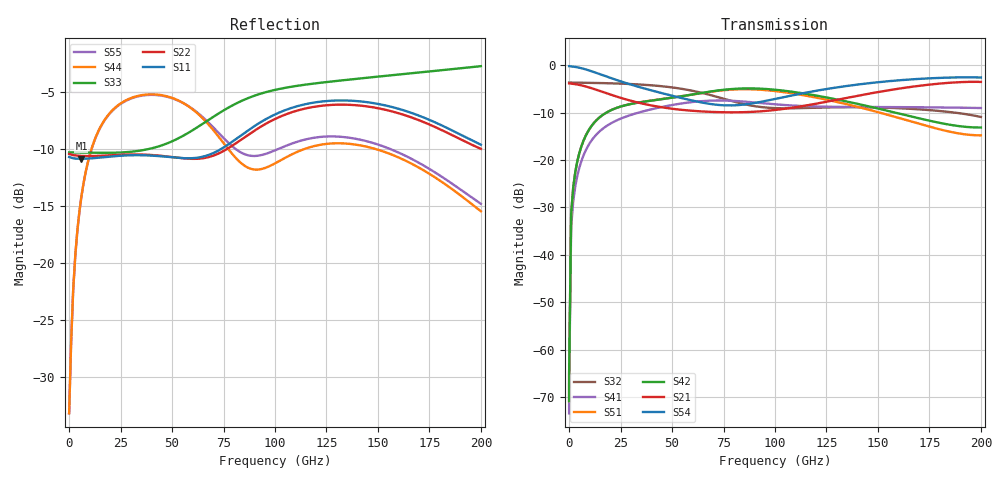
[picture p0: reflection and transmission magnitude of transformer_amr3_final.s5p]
! Created with skrf 2.1.0 (http://scikit-rf.org).
# GHz S DB R 50.0
! Port[1] = P1
! Port[2] = P2
! Port[3] = P3
! Port[4] = P4
! Port[5] = P5
!freq dBS11 angS11 dBS12 angS12 dBS13 angS13
! dBS14 angS14 dBS15 angS15
! dBS21 angS21 dBS22 angS22 dBS23 angS23
! dBS24 angS24 dBS25 angS25
! dBS31 angS31 dBS32 angS32 dBS33 angS33
! dBS34 angS34 dBS35 angS35
! dBS41 angS41 dBS42 angS42 dBS43 angS43
! dBS44 angS44 dBS45 angS45
! dBS51 angS51 dBS52 angS52 dBS53 angS53
! dBS54 angS54 dBS55 angS55
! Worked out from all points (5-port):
!   202 points, 10 MHz to 200 GHz, reference 50 ohm
!   strongest paths, dB at 10 MHz, 49 GHz, 100 GHz, 150 GHz, 200 GHz:
!     S54: -0.2, -6.3, -7.1, -3.6, -2.6
!     S21: -3.8, -9.1, -9.4, -5.7, -3.5
!     S42: -70.9, -6.9, -5.2, -9.1, -13.1
!     S51: -70.9, -6.9, -5.4, -9.9, -14.8
!     S41: -73.5, -8.5, -8.2, -8.8, -9.0
!     S32: -3.7, -4.6, -9.0, -8.9, -10.9
!   lowest |S11| = -10.9 dB at 6 GHz (marker M1), VSWR 1.80, Z = 29.6 + j10.3 ohm
!   |S11| at or under -10 dB: start of sweep to 74.14 GHz
